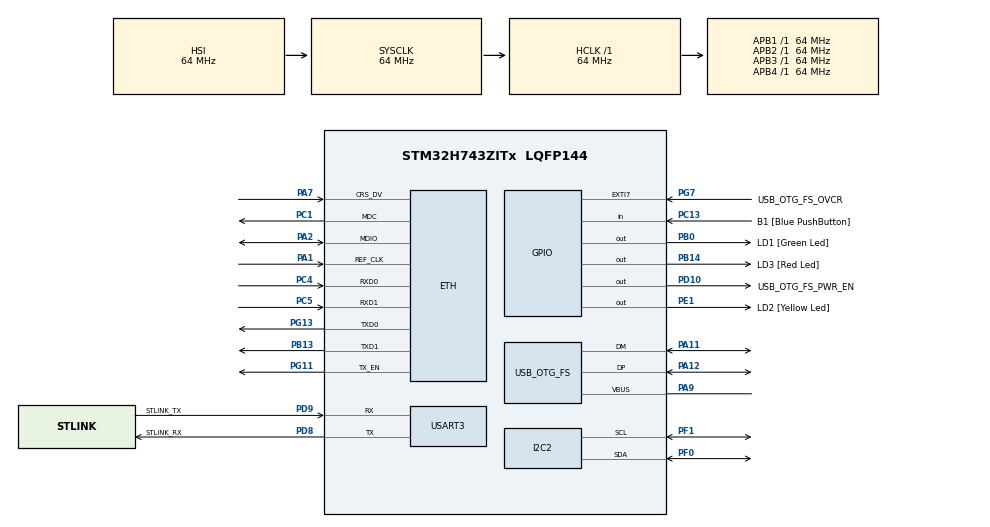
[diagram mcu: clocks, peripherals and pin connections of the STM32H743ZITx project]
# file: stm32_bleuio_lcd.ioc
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ETH.MediaInterface=HAL_ETH_RMII_MODE
I2C2.Speed=50
I2C2.Timing=0x403032CA
Mcu.Family=STM32H7
Mcu.Name=STM32H743ZITx
Mcu.Package=LQFP144
NVIC.I2C2_ER_IRQn=true\:0\:0\:false\:false\:true\:true\:true
NVIC.I2C2_EV_IRQn=true\:0\:0\:false\:false\:true\:true\:true
NVIC.OTG_FS_EP1_IN_IRQn=true\:0\:0\:false\:false\:true\:true\:true
NVIC.OTG_FS_EP1_OUT_IRQn=true\:0\:0\:false\:false\:true\:true\:true
NVIC.OTG_FS_IRQn=true\:0\:0\:false\:false\:true\:true\:true
NVIC.PriorityGroup=NVIC_PRIORITYGROUP_4
NVIC.USART3_IRQn=true\:0\:0\:false\:false\:true\:true\:true
PA1.Mode=RMII
PA1.Signal=ETH_REF_CLK
PA11.Mode=Host_Only
PA11.Signal=USB_OTG_FS_DM
PA12.Mode=Host_Only
PA12.Signal=USB_OTG_FS_DP
PA2.Mode=RMII
PA2.Signal=ETH_MDIO
PA7.Mode=RMII
PA7.Signal=ETH_CRS_DV
PA8.Signal=USB_OTG_FS_SOF
PA9.Mode=Activate_VBUS
PA9.Signal=USB_OTG_FS_VBUS
PB0.GPIO_Label=LD1 [Green Led]
PB0.Signal=GPIO_Output
PB13.Mode=RMII
PB13.Signal=ETH_TXD1
PB14.GPIO_Label=LD3 [Red Led]
PB14.Signal=GPIO_Output
PC1.Mode=RMII
PC1.Signal=ETH_MDC
PC13.GPIO_Label=B1 [Blue PushButton]
PC13.Signal=GPIO_Input
PC14-OSC32_IN\ (OSC32_IN).Mode=LSE-External-Oscillator
PC14-OSC32_IN\ (OSC32_IN).Signal=RCC_OSC32_IN
PC15-OSC32_OUT\ (OSC32_OUT).Mode=LSE-External-Oscillator
PC15-OSC32_OUT\ (OSC32_OUT).Signal=RCC_OSC32_OUT
PC4.Mode=RMII
PC4.Signal=ETH_RXD0
PC5.Mode=RMII
PC5.Signal=ETH_RXD1
PD10.GPIO_Label=USB_OTG_FS_PWR_EN
PD10.Signal=GPIO_Output
PD8.GPIO_Label=STLINK_RX
PD8.Mode=Asynchronous
PD8.Signal=USART3_TX
PD9.GPIO_Label=STLINK_TX
PD9.Mode=Asynchronous
PD9.Signal=USART3_RX
PE1.GPIO_Label=LD2 [Yellow Led]
PE1.Signal=GPIO_Output
PF0.GPIO_Pu=GPIO_PULLUP
PF0.Mode=I2C
PF0.Signal=I2C2_SDA
PF1.GPIO_Pu=GPIO_PULLUP
PF1.Mode=I2C
PF1.Signal=I2C2_SCL
PG11.Mode=RMII
PG11.Signal=ETH_TX_EN
PG13.Mode=RMII
PG13.Signal=ETH_TXD0
PG7.GPIO_Label=USB_OTG_FS_OVCR
PG7.Signal=GPXTI7
PH0-OSC_IN\ (PH0).Mode=HSE-External-Clock-Source
PH0-OSC_IN\ (PH0).Signal=RCC_OSC_IN
PH1-OSC_OUT\ (PH1).Signal=RCC_OSC_OUT
ProjectManager.HeapSize=0x200
ProjectManager.StackSize=0x400
ProjectManager.TargetToolchain=STM32CubeIDE
RCC.ADCFreq_Value=16125000
RCC.APB1Freq_Value=64000000
RCC.APB2Freq_Value=64000000
RCC.APB3Freq_Value=64000000
RCC.APB4Freq_Value=64000000
RCC.CortexFreq_Value=64000000
RCC.DIVM1=1
RCC.DIVN1=24
RCC.DIVQ1=4
RCC.HCLKFreq_Value=64000000
RCC.HSE_VALUE=8000000
RCC.PLLFRACN=0
RCC.PWR_Regulator_Voltage_Scale=PWR_REGULATOR_VOLTAGE_SCALE2
RCC.SYSCLKFreq_VALUE=64000000
RCC.USBFreq_Value=48000000
USART3.VirtualMode-Asynchronous=VM_ASYNC
USB_HOST.BSP.number=1
USB_HOST.USBH_HandleTypeDef-CDC_FS=hUsbHostFS
USB_HOST.VirtualModeFS=Cdc
USB_HOST0.BSP.STBoard=false
USB_HOST0.BSP.api=Unknown
USB_HOST0.BSP.i2caddr=0
USB_HOST0.BSP.instance=PD10
USB_HOST0.BSP.ip=GPIO
USB_HOST0.BSP.mode=Output
USB_HOST0.BSP.name=Drive_VBUS_FS
USB_HOST0.BSP.solution=PD10
USB_OTG_FS.VirtualMode=Host_Only
USB_OTG_FS.phy_itface=HCD_PHY_EMBEDDED
VP_USB_HOST_VS_USB_HOST_CDC_FS.Mode=CDC_FS
board=NUCLEO-H743ZI2

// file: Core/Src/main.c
/* USER CODE BEGIN Header */
/**
  ******************************************************************************
  * @file           : main.c
  * @brief          : Main program body
  ******************************************************************************
  * @attention
  *
  *
  * This software component is licensed by SSD under BSD 3-Clause license,
  * the "License"; You may not use this file except in compliance with the
  * License. You may obtain a copy of the License at:
  *                        opensource.org/licenses/BSD-3-Clause
  *
  ******************************************************************************
  */
/* USER CODE END Header */
#include "main.h"
#include "string.h"
#include "usb_host.h"

/* USER CODE BEGIN PTD */
typedef enum {
  UART_RX_0 = 48,
  UART_RX_1,
  UART_RX_2,
  UART_RX_3,
  UART_RX_4,
  UART_RX_5,
  UART_RX_6,
  UART_RX_NONE = 0xFF,
}UARTCommandTypeDef;

// Error codes
typedef enum{
  NO_ERROR       = 0x00, // no error
  ACK_ERROR      = 0x01, // no acknowledgment error
  CHECKSUM_ERROR = 0x02, // checksum mismatch error
  TIMEOUT_ERROR  = 0x04, // timeout error
} etError;

/* USER CODE END PTD */

/* USER CODE BEGIN PD */
#define RXBUFFERSIZE                     1

#define BLEUIO_NOT_READY_MSG	"\r\nBleuIO not ready yet.\r\n"

// Dongle commands
#define DONGLE_CMD_ATI "ATI\r\n"
#define DONGLE_CMD_AT_ADVSTART "AT+ADVSTART\r\n"
#define DONGLE_CMD_AT_ADVSTOP "AT+ADVSTOP\r\n"
#define DONGLE_SEND_LIGHT_ON "AT+SPSSEND=LIGHT ON\r\n"
#define DONGLE_SEND_LIGHT_OFF "AT+SPSSEND=LIGHT OFF\r\n"

/* USER CODE END PD */

#if defined ( __ICCARM__ ) /*!< IAR Compiler */

#pragma location=0x30040000
ETH_DMADescTypeDef  DMARxDscrTab[ETH_RX_DESC_CNT]; /* Ethernet Rx DMA Descriptors */
#pragma location=0x30040060
ETH_DMADescTypeDef  DMATxDscrTab[ETH_TX_DESC_CNT]; /* Ethernet Tx DMA Descriptors */
#pragma location=0x300400c0
uint8_t Rx_Buff[ETH_RX_DESC_CNT][ETH_MAX_PACKET_SIZE]; /* Ethernet Receive Buffers */

#elif defined ( __CC_ARM )  /* MDK ARM Compiler */

__attribute__((at(0x30040000))) ETH_DMADescTypeDef  DMARxDscrTab[ETH_RX_DESC_CNT]; /* Ethernet Rx DMA Descriptors */
__attribute__((at(0x30040060))) ETH_DMADescTypeDef  DMATxDscrTab[ETH_TX_DESC_CNT]; /* Ethernet Tx DMA Descriptors */
__attribute__((at(0x300400c0))) uint8_t Rx_Buff[ETH_RX_DESC_CNT][ETH_MAX_PACKET_SIZE]; /* Ethernet Receive Buffer */

#elif defined ( __GNUC__ ) /* GNU Compiler */

ETH_DMADescTypeDef DMARxDscrTab[ETH_RX_DESC_CNT] __attribute__((section(".RxDecripSection"))); /* Ethernet Rx DMA Descriptors */
ETH_DMADescTypeDef DMATxDscrTab[ETH_TX_DESC_CNT] __attribute__((section(".TxDecripSection")));   /* Ethernet Tx DMA Descriptors */
uint8_t Rx_Buff[ETH_RX_DESC_CNT][ETH_MAX_PACKET_SIZE] __attribute__((section(".RxArraySection"))); /* Ethernet Receive Buffers */

#endif

ETH_TxPacketConfig TxConfig;

ETH_HandleTypeDef heth;

I2C_HandleTypeDef hi2c2;

UART_HandleTypeDef huart3;

/* USER CODE BEGIN PV */

#define I2C_ADDR        0x50  // LCD display addr  7-bit

HAL_StatusTypeDef err0r;

static char uart_tx_buf[250];
int uart_buf_len;
bool isBleuIOReady;
uint8_t dongle_response[244];
uint8_t text[244];
static UARTCommandTypeDef uartStatus;
static uint8_t aRxBuffer[RXBUFFERSIZE];
static int RX_value;
uint8_t sendbuff[3]={0,};
uint8_t asciibuff[8]={0,};

bool isAdvertising;
bool isLightBulbOn;
bool isConnected;

/* USER CODE END PV */

void SystemClock_Config(void);
static void MX_GPIO_Init(void);
static void MX_ETH_Init(void);
static void MX_USART3_UART_Init(void);
static void MX_I2C2_Init(void);
void MX_USB_HOST_Process(void);

/* USER CODE BEGIN PFP */
void handleUartInput(UARTCommandTypeDef cmd);
void dongle_interpreter(uint8_t * input);

void lcd_on(void);
void lcd_off(void);
void init_lcd();
void lcd_clear(void);
void lcd_write (uint8_t * input);

void lcd_wellcome_msg(void);

/* USER CODE END PFP */

int main(void)
{

  /* MCU Configuration--------------------------------------------------------*/

  /* Reset of all peripherals, Initializes the Flash interface and the Systick. */
  HAL_Init();

  /* Configure the system clock */
  SystemClock_Config();

  /* Initialize all configured peripherals */
  MX_GPIO_Init();
  MX_ETH_Init();
  MX_USART3_UART_Init();
  MX_USB_HOST_Init();
  MX_I2C2_Init();
  /* USER CODE BEGIN 2 */
  isBleuIOReady = false;
  isAdvertising= false;
  isLightBulbOn= false;
  isConnected= false;
  uartStatus = UART_RX_NONE;

  // Starts uart recieve interrupt mode
  HAL_UART_Receive_IT(&huart3, (uint8_t *)aRxBuffer, RXBUFFERSIZE);

  // Turns on all LEDs on start up
  HAL_GPIO_WritePin(GPIOB, GPIO_PIN_0, GPIO_PIN_SET);
  HAL_GPIO_WritePin(GPIOE, GPIO_PIN_1, GPIO_PIN_SET);
  HAL_GPIO_WritePin(GPIOB, GPIO_PIN_14, GPIO_PIN_SET);
  HAL_Delay(1000);

  // Turns off all LEDs except Red
  HAL_GPIO_WritePin(GPIOB, GPIO_PIN_0, GPIO_PIN_RESET);
  HAL_GPIO_WritePin(GPIOE, GPIO_PIN_1, GPIO_PIN_RESET);

  // Sends welcome message to uart
  uart_buf_len = sprintf(uart_tx_buf, "LCD DISPLAY\r\nWelcome to this Tutorial on STM32 BleuIO Example!\r\n  Please Press 0 to run the ATI command\r\nPress 1 to start advertising\r\nPress 2 to stop advertising\r\nPress 3 to Clear Screen\r\n\r\n");
  HAL_UART_Transmit(&huart3, (uint8_t *)uart_tx_buf, uart_buf_len, HAL_MAX_DELAY);

  init_lcd();

  lcd_wellcome_msg();

  /* USER CODE END 2 */

  /* Infinite loop */
  while (1)
  {
    MX_USB_HOST_Process();

    /* USER CODE BEGIN 3 */
    // Simple handler for uart input
    handleUartInput(uartStatus);

    // Inteprets the dongle data
    dongle_interpreter(dongle_response);

	// Starts advertising as soon as the Dongle is ready.
	if(!isAdvertising && !isConnected && isBleuIOReady)
	{
		HAL_Delay(200);
		writeToDongle((uint8_t*)DONGLE_CMD_AT_ADVSTART);
		isAdvertising = true;
	}
  }
  /* USER CODE END 3 */
}

void SystemClock_Config(void)
{
  RCC_OscInitTypeDef RCC_OscInitStruct = {0};
  RCC_ClkInitTypeDef RCC_ClkInitStruct = {0};

  /** Supply configuration update enable
  */
  HAL_PWREx_ConfigSupply(PWR_LDO_SUPPLY);
  /** Configure the main internal regulator output voltage
  */
  __HAL_PWR_VOLTAGESCALING_CONFIG(PWR_REGULATOR_VOLTAGE_SCALE2);

  while(!__HAL_PWR_GET_FLAG(PWR_FLAG_VOSRDY)) {}
  /** Initializes the RCC Oscillators according to the specified parameters
  * in the RCC_OscInitTypeDef structure.
  */
  RCC_OscInitStruct.OscillatorType = RCC_OSCILLATORTYPE_HSI|RCC_OSCILLATORTYPE_HSE;
  RCC_OscInitStruct.HSEState = RCC_HSE_BYPASS;
  RCC_OscInitStruct.HSIState = RCC_HSI_DIV1;
  RCC_OscInitStruct.HSICalibrationValue = RCC_HSICALIBRATION_DEFAULT;
  RCC_OscInitStruct.PLL.PLLState = RCC_PLL_ON;
  RCC_OscInitStruct.PLL.PLLSource = RCC_PLLSOURCE_HSE;
  RCC_OscInitStruct.PLL.PLLM = 1;
  RCC_OscInitStruct.PLL.PLLN = 24;
  RCC_OscInitStruct.PLL.PLLP = 2;
  RCC_OscInitStruct.PLL.PLLQ = 4;
  RCC_OscInitStruct.PLL.PLLR = 2;
  RCC_OscInitStruct.PLL.PLLRGE = RCC_PLL1VCIRANGE_3;
  RCC_OscInitStruct.PLL.PLLVCOSEL = RCC_PLL1VCOWIDE;
  RCC_OscInitStruct.PLL.PLLFRACN = 0;
  if (HAL_RCC_OscConfig(&RCC_OscInitStruct) != HAL_OK)
  {
    Error_Handler();
  }
  /** Initializes the CPU, AHB and APB buses clocks
  */
  RCC_ClkInitStruct.ClockType = RCC_CLOCKTYPE_HCLK|RCC_CLOCKTYPE_SYSCLK
                              |RCC_CLOCKTYPE_PCLK1|RCC_CLOCKTYPE_PCLK2
                              |RCC_CLOCKTYPE_D3PCLK1|RCC_CLOCKTYPE_D1PCLK1;
  RCC_ClkInitStruct.SYSCLKSource = RCC_SYSCLKSOURCE_HSI;
  RCC_ClkInitStruct.SYSCLKDivider = RCC_SYSCLK_DIV1;
  RCC_ClkInitStruct.AHBCLKDivider = RCC_HCLK_DIV1;
  RCC_ClkInitStruct.APB3CLKDivider = RCC_APB3_DIV1;
  RCC_ClkInitStruct.APB1CLKDivider = RCC_APB1_DIV1;
  RCC_ClkInitStruct.APB2CLKDivider = RCC_APB2_DIV1;
  RCC_ClkInitStruct.APB4CLKDivider = RCC_APB4_DIV1;

  if (HAL_RCC_ClockConfig(&RCC_ClkInitStruct, FLASH_LATENCY_1) != HAL_OK)
  {
    Error_Handler();
  }
}

static void MX_ETH_Init(void)
{

   static uint8_t MACAddr[6];

  heth.Instance = ETH;
  MACAddr[0] = 0x00;
  MACAddr[1] = 0x80;
  MACAddr[2] = 0xE1;
  MACAddr[3] = 0x00;
  MACAddr[4] = 0x00;
  MACAddr[5] = 0x00;
  heth.Init.MACAddr = &MACAddr[0];
  heth.Init.MediaInterface = HAL_ETH_RMII_MODE;
  heth.Init.TxDesc = DMATxDscrTab;
  heth.Init.RxDesc = DMARxDscrTab;
  heth.Init.RxBuffLen = 1524;

  if (HAL_ETH_Init(&heth) != HAL_OK)
  {
    Error_Handler();
  }

  memset(&TxConfig, 0 , sizeof(ETH_TxPacketConfig));
  TxConfig.Attributes = ETH_TX_PACKETS_FEATURES_CSUM | ETH_TX_PACKETS_FEATURES_CRCPAD;
  TxConfig.ChecksumCtrl = ETH_CHECKSUM_IPHDR_PAYLOAD_INSERT_PHDR_CALC;
  TxConfig.CRCPadCtrl = ETH_CRC_PAD_INSERT;

}

static void MX_I2C2_Init(void)
{

  hi2c2.Instance = I2C2;
  hi2c2.Init.Timing = 0x403032CA;
  hi2c2.Init.OwnAddress1 = 0;
  hi2c2.Init.AddressingMode = I2C_ADDRESSINGMODE_7BIT;
  hi2c2.Init.DualAddressMode = I2C_DUALADDRESS_DISABLE;
  hi2c2.Init.OwnAddress2 = 0;
  hi2c2.Init.OwnAddress2Masks = I2C_OA2_NOMASK;
  hi2c2.Init.GeneralCallMode = I2C_GENERALCALL_DISABLE;
  hi2c2.Init.NoStretchMode = I2C_NOSTRETCH_DISABLE;
  if (HAL_I2C_Init(&hi2c2) != HAL_OK)
  {
    Error_Handler();
  }
  /** Configure Analogue filter
  */
  if (HAL_I2CEx_ConfigAnalogFilter(&hi2c2, I2C_ANALOGFILTER_ENABLE) != HAL_OK)
  {
    Error_Handler();
  }
  /** Configure Digital filter
  */
  if (HAL_I2CEx_ConfigDigitalFilter(&hi2c2, 0) != HAL_OK)
  {
    Error_Handler();
  }

}

static void MX_USART3_UART_Init(void)
{

  huart3.Instance = USART3;
  huart3.Init.BaudRate = 115200;
  huart3.Init.WordLength = UART_WORDLENGTH_8B;
  huart3.Init.StopBits = UART_STOPBITS_1;
  huart3.Init.Parity = UART_PARITY_NONE;
  huart3.Init.Mode = UART_MODE_TX_RX;
  huart3.Init.HwFlowCtl = UART_HWCONTROL_NONE;
  huart3.Init.OverSampling = UART_OVERSAMPLING_16;
  huart3.Init.OneBitSampling = UART_ONE_BIT_SAMPLE_DISABLE;
  huart3.Init.ClockPrescaler = UART_PRESCALER_DIV1;
  huart3.AdvancedInit.AdvFeatureInit = UART_ADVFEATURE_NO_INIT;
  if (HAL_UART_Init(&huart3) != HAL_OK)
  {
    Error_Handler();
  }
  if (HAL_UARTEx_SetTxFifoThreshold(&huart3, UART_TXFIFO_THRESHOLD_1_8) != HAL_OK)
  {
    Error_Handler();
  }
  if (HAL_UARTEx_SetRxFifoThreshold(&huart3, UART_RXFIFO_THRESHOLD_1_8) != HAL_OK)
  {
    Error_Handler();
  }
  if (HAL_UARTEx_DisableFifoMode(&huart3) != HAL_OK)
  {
    Error_Handler();
  }

}

static void MX_GPIO_Init(void)
{
  GPIO_InitTypeDef GPIO_InitStruct = {0};

  /* GPIO Ports Clock Enable */
  __HAL_RCC_GPIOC_CLK_ENABLE();
  __HAL_RCC_GPIOF_CLK_ENABLE();
  __HAL_RCC_GPIOH_CLK_ENABLE();
  __HAL_RCC_GPIOA_CLK_ENABLE();
  __HAL_RCC_GPIOB_CLK_ENABLE();
  __HAL_RCC_GPIOD_CLK_ENABLE();
  __HAL_RCC_GPIOG_CLK_ENABLE();
  __HAL_RCC_GPIOE_CLK_ENABLE();

  /*Configure GPIO pin Output Level */
  HAL_GPIO_WritePin(GPIOB, LD1_Pin|LD3_Pin, GPIO_PIN_RESET);

  /*Configure GPIO pin Output Level */
  HAL_GPIO_WritePin(USB_OTG_FS_PWR_EN_GPIO_Port, USB_OTG_FS_PWR_EN_Pin, GPIO_PIN_RESET);

  /*Configure GPIO pin Output Level */
  HAL_GPIO_WritePin(LD2_GPIO_Port, LD2_Pin, GPIO_PIN_RESET);

  /*Configure GPIO pin : B1_Pin */
  GPIO_InitStruct.Pin = B1_Pin;
  GPIO_InitStruct.Mode = GPIO_MODE_INPUT;
  GPIO_InitStruct.Pull = GPIO_NOPULL;
  HAL_GPIO_Init(B1_GPIO_Port, &GPIO_InitStruct);

  /*Configure GPIO pins : LD1_Pin LD3_Pin */
  GPIO_InitStruct.Pin = LD1_Pin|LD3_Pin;
  GPIO_InitStruct.Mode = GPIO_MODE_OUTPUT_PP;
  GPIO_InitStruct.Pull = GPIO_NOPULL;
  GPIO_InitStruct.Speed = GPIO_SPEED_FREQ_LOW;
  HAL_GPIO_Init(GPIOB, &GPIO_InitStruct);

  /*Configure GPIO pin : USB_OTG_FS_PWR_EN_Pin */
  GPIO_InitStruct.Pin = USB_OTG_FS_PWR_EN_Pin;
  GPIO_InitStruct.Mode = GPIO_MODE_OUTPUT_PP;
  GPIO_InitStruct.Pull = GPIO_NOPULL;
  GPIO_InitStruct.Speed = GPIO_SPEED_FREQ_LOW;
  HAL_GPIO_Init(USB_OTG_FS_PWR_EN_GPIO_Port, &GPIO_InitStruct);

  /*Configure GPIO pin : USB_OTG_FS_OVCR_Pin */
  GPIO_InitStruct.Pin = USB_OTG_FS_OVCR_Pin;
  GPIO_InitStruct.Mode = GPIO_MODE_IT_RISING;
  GPIO_InitStruct.Pull = GPIO_NOPULL;
  HAL_GPIO_Init(USB_OTG_FS_OVCR_GPIO_Port, &GPIO_InitStruct);

  /*Configure GPIO pin : LD2_Pin */
  GPIO_InitStruct.Pin = LD2_Pin;
  GPIO_InitStruct.Mode = GPIO_MODE_OUTPUT_PP;
  GPIO_InitStruct.Pull = GPIO_NOPULL;
  GPIO_InitStruct.Speed = GPIO_SPEED_FREQ_LOW;
  HAL_GPIO_Init(LD2_GPIO_Port, &GPIO_InitStruct);

}

/* USER CODE BEGIN 4 */
void HAL_UART_RxCpltCallback(UART_HandleTypeDef *UartHandle)
{
	if(UartHandle == &huart3)
	{
		RX_value = (int)aRxBuffer[0];
		uartStatus = UART_RX_NONE;

		switch(RX_value)
		{
			case UART_RX_0:
			{
				uartStatus = UART_RX_0;
				break;
			}
			case UART_RX_1:
			{
				uartStatus = UART_RX_1;
				break;
			}
			case UART_RX_2:
			{
				uartStatus = UART_RX_2;
				break;
			}

			case UART_RX_3:
			{
				uartStatus = UART_RX_3;
				break;
			}

			case UART_RX_4:
			{
				uartStatus = UART_RX_4;
				break;
			}

			case UART_RX_5:
			{
				uartStatus = UART_RX_5;
				break;
			}

			case UART_RX_6:
			{
				uartStatus = UART_RX_6;
				break;
			}

			default:
			{
				uartStatus = UART_RX_NONE;
				break;
			}
		}
		// Resets uart recieve interrupt mode
		HAL_UART_Receive_IT(&huart3, (uint8_t *)aRxBuffer, RXBUFFERSIZE);
	}
}

/**
  * @brief Simple uart input handler
  * @retval None
  */
void handleUartInput(UARTCommandTypeDef cmd)
{
	switch(cmd)
	{
		case UART_RX_0:
		{
			// 0
			uart_buf_len = sprintf(uart_tx_buf, "\r\n(0 pressed)\r\n");
			HAL_UART_Transmit(&huart3, (uint8_t *)uart_tx_buf, uart_buf_len, HAL_MAX_DELAY);
			if(isBleuIOReady)
			{
				writeToDongle((uint8_t*)DONGLE_CMD_ATI);
			} else
			{
				uart_buf_len = sprintf(uart_tx_buf, BLEUIO_NOT_READY_MSG);
				HAL_UART_Transmit(&huart3, (uint8_t *)uart_tx_buf, uart_buf_len, HAL_MAX_DELAY);
			}
			uartStatus = UART_RX_NONE;
			break;
		}

		case UART_RX_1:
		{
			// 1
			uart_buf_len = sprintf(uart_tx_buf, "\r\n(1 pressed)\r\n");
			HAL_UART_Transmit(&huart3, (uint8_t *)uart_tx_buf, uart_buf_len, HAL_MAX_DELAY);
			if(isBleuIOReady)
			{
				writeToDongle((uint8_t*)DONGLE_CMD_AT_ADVSTART);
			} else
			{
				uart_buf_len = sprintf(uart_tx_buf, BLEUIO_NOT_READY_MSG);
				HAL_UART_Transmit(&huart3, (uint8_t *)uart_tx_buf, uart_buf_len, HAL_MAX_DELAY);
			}
			uartStatus = UART_RX_NONE;
			break;
		}

		case UART_RX_2:
		{
			// 2
			uart_buf_len = sprintf(uart_tx_buf, "\r\n(2 pressed)\r\n");
			HAL_UART_Transmit(&huart3, (uint8_t *)uart_tx_buf, uart_buf_len, HAL_MAX_DELAY);
			if(isBleuIOReady)
			{
				writeToDongle((uint8_t*)DONGLE_CMD_AT_ADVSTOP);
			} else
			{
				uart_buf_len = sprintf(uart_tx_buf, BLEUIO_NOT_READY_MSG);
				HAL_UART_Transmit(&huart3, (uint8_t *)uart_tx_buf, uart_buf_len, HAL_MAX_DELAY);
			}
			uartStatus = UART_RX_NONE;
			break;
		}

		case UART_RX_3:
		{
			// 3
			lcd_clear();
			HAL_Delay(100); // in ms
			uartStatus = UART_RX_NONE;
			break;
	    }

		case UART_RX_4:
		{
			// 4
			sendbuff[1]=(uint8_t)(0x4B);
			sendbuff[0]=(uint8_t)(0xFE);
			err0r=HAL_I2C_Master_Transmit(&hi2c2,(uint16_t)(I2C_ADDR),sendbuff,2,HAL_MAX_DELAY);

			HAL_Delay(500); // in ms
			uartStatus = UART_RX_NONE;
		    break;
		}

		case UART_RX_5:
		{
			// 5
			lcd_wellcome_msg();
			uartStatus = UART_RX_NONE;
			break;
		}

		case UART_RX_6:
		{
			// 6
			lcd_off();
			break;
		}

		case UART_RX_NONE:
		{
			break;
		}

		default:
		{
			uartStatus = UART_RX_NONE;
			break;
		}
	}
}

/**
  * @brief Simple dongle interpreter
  * @retval None
  */
void dongle_interpreter(uint8_t * input)
{

	if(strlen((char *)input) != 0)
	{
		if(strstr((char *)input, "\r\nADVERTISING...") != NULL)
		{
			isAdvertising = true;
		}
		if(strstr((char *)input, "\r\nADVERTISING STOPPED") != NULL)
		{
			isAdvertising = false;
		}
		if(strstr((char *)input, "\r\nCONNECTED") != NULL)
		{
			isConnected = true;
			HAL_GPIO_WritePin(GPIOE, GPIO_PIN_1, GPIO_PIN_SET);
		}
		if(strstr((char *)input, "\r\nDISCONNECTED") != NULL)
		{
			isConnected = false;
			HAL_GPIO_WritePin(GPIOE, GPIO_PIN_1, GPIO_PIN_RESET);
		}

		if(strstr((char *)input, "L=0") != NULL)
		{

			isLightBulbOn = false;
			//HAL_GPIO_WritePin(Lightbulb_GPIO_Port, Lightbulb_Pin, GPIO_PIN_RESET);
			lcd_clear();

			writeToDongle((uint8_t*)DONGLE_SEND_LIGHT_OFF);

			uart_buf_len = sprintf(uart_tx_buf, "\r\nClear screen\r\n");
			HAL_UART_Transmit(&huart3, (uint8_t *)uart_tx_buf, uart_buf_len, HAL_MAX_DELAY);
		}

		if(strstr((char *)input, "L=1") != NULL)
		{
				isLightBulbOn = true;
				writeToDongle((uint8_t*)DONGLE_SEND_LIGHT_ON);

				lcd_clear();

				lcd_write(input);

		}

	}
	memset(&dongle_response, 0, RSP_SIZE);
}

/********************************************************************
 init lcd
********************************************************************/
void init_lcd(void){

	lcd_on();

	HAL_Delay(500); // in ms

	// Set Backlight Level
    sendbuff[2] = 8;    // backlight 1 - 15
	sendbuff[1] = 0x53;
	sendbuff[0] = 0xFE;

	err0r=HAL_I2C_Master_Transmit(&hi2c2,(uint16_t)(I2C_ADDR),sendbuff,3,HAL_MAX_DELAY);

	HAL_Delay(500); // in ms

	// Set Contrast
	sendbuff[2] = 40;    // contrast 1 - 50
	sendbuff[1] = 0x52;
	sendbuff[0] = 0xFE;
	err0r=HAL_I2C_Master_Transmit(&hi2c2,(uint16_t)(I2C_ADDR),sendbuff,3,HAL_MAX_DELAY);

	HAL_Delay(500); // in ms

}

/********************************************************************
 lcd on
********************************************************************/

void lcd_on(void){
	// set display on
	sendbuff[1]=(uint8_t)(0x41);
	sendbuff[0]=(uint8_t)(0xFE);
	err0r=HAL_I2C_Master_Transmit(&hi2c2,(uint16_t)(I2C_ADDR),sendbuff,2,HAL_MAX_DELAY);
}

/********************************************************************
 lcd off
********************************************************************/
void lcd_off(void){
	// set display on
	sendbuff[1]=(uint8_t)(0x42);
	sendbuff[0]=(uint8_t)(0xFE);
	err0r=HAL_I2C_Master_Transmit(&hi2c2,(uint16_t)(I2C_ADDR),sendbuff,2,HAL_MAX_DELAY);
}

/********************************************************************
 lcd clear
********************************************************************/
void lcd_clear(void)
{

	sendbuff[1]=(uint8_t)(0x51);
	sendbuff[0]=(uint8_t)(0xFE);
	err0r=HAL_I2C_Master_Transmit(&hi2c2,(uint16_t)(I2C_ADDR),sendbuff,2,HAL_MAX_DELAY);

	HAL_Delay(100); // in ms
}

/********************************************************************
 lcd write
********************************************************************/
void lcd_write(uint8_t * input)
{
	int str_len;

	str_len = strlen((char *)input);
    // copy without "L=1" command
	for (int i = 3, j=0; i < str_len; i++, j++) {	//"Serial LCD Demo"

		asciibuff[j] = input[i];
	}

	err0r=HAL_I2C_Master_Transmit(&hi2c2,(uint16_t)(I2C_ADDR),asciibuff,str_len-3,HAL_MAX_DELAY);

	HAL_Delay(500); // in ms

}

/********************************************************************
 lcd wellcome message
********************************************************************/
void lcd_wellcome_msg(void)
{
	asciibuff[0]=(uint8_t)(0x57);
	asciibuff[1]=(uint8_t)(0x45);
	asciibuff[2]=(uint8_t)(0x4C);
	asciibuff[3]=(uint8_t)(0x4C);
	asciibuff[4]=(uint8_t)(0x43);
	asciibuff[5]=(uint8_t)(0x4F);
	asciibuff[6]=(uint8_t)(0x4D);
	asciibuff[7]=(uint8_t)(0x45);
	err0r=HAL_I2C_Master_Transmit(&hi2c2,(uint16_t)(I2C_ADDR),asciibuff,8,HAL_MAX_DELAY);

	HAL_Delay(500); // in ms
}

/* USER CODE END 4 */

void Error_Handler(void)
{
  __disable_irq();
  while (1)
  {
  }
}
